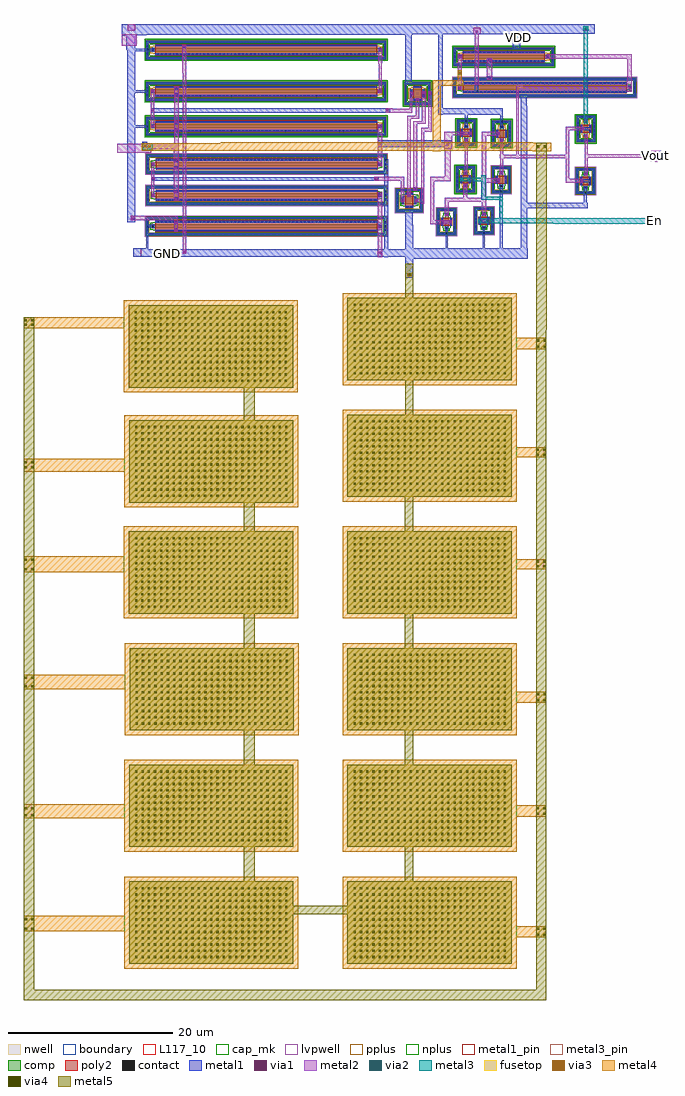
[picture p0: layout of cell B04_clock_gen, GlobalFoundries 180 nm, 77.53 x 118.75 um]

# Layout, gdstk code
from math import pi, radians
import gdstk
lib = gdstk.Library(unit=1e-6, precision=1e-09)
def R(c, l, rs):  # rectangles x0, y0, x1, y1
    for r in rs: c.add(gdstk.rectangle(r[:2], r[2:], *l))
def A(c, l, x, y, w, h, nx, ny, dx, dy):  # array of equal rectangles
    R(c, l, [(x+i*dx, y+j*dy, x+i*dx+w, y+j*dy+h) for i in range(nx) for j in range(ny)])
boundary = (0, 0)
nwell = (21, 0)
comp = (22, 0)
poly2 = (30, 0)
pplus = (31, 0)
nplus = (32, 0)
contact = (33, 0)
metal1 = (34, 0)
metal1_pin = (34, 10)
via1 = (35, 0)
metal2 = (36, 0)
via2 = (38, 0)
via3 = (40, 0)
via4 = (41, 0)
metal3 = (42, 0)
metal3_pin = (42, 10)
metal4 = (46, 0)
fusetop = (75, 0)
metal5 = (81, 0)
cap_mk = (117, 5)
L117_10 = (117, 10)
lvpwell = (204, 0)

cap_mim_8 = lib.new_cell('cap_mim$8')
A(cap_mim_8, via4, 0.69, 0.75, 0.26, 0.26, 12, 25, 0.76, 0.76)
R(cap_mim_8, metal4, [(-0.6,-0.6,10.6,20.6)])
R(cap_mim_8, fusetop, [(0,0,10,20)])
R(cap_mim_8, metal5, [(0,0,10,20)])
R(cap_mim_8, cap_mk, [(-0.6,-0.6,10.6,20.6)])
R(cap_mim_8, L117_10, [(0,0,10,0.1)])

via_dev_24 = lib.new_cell('via_dev$24')
R(via_dev_24, via4, [(0.07,0.07,0.33,0.33)])
R(via_dev_24, metal4, [(0,0,0.4,0.4)])
R(via_dev_24, metal5, [(0,0,0.4,0.4)])

nfet_03v3_rea3en = lib.new_cell('nfet_03v3_REA3EN')
R(nfet_03v3_rea3en, boundary, [(-1.45,-1,1.45,1)])
R(nfet_03v3_rea3en, comp, [(-1.63,-1.18,1.63,-0.82), (-1.63,-0.82,-1.27,0.82), (1.27,-0.82,1.63,0.82), (-0.94,-0.25,0.94,0.25), (-1.63,0.82,1.63,1.18)])
R(nfet_03v3_rea3en, poly2, [(-0.5,-0.71,0.5,0.71)])
R(nfet_03v3_rea3en, pplus, [(-0.915,-1.21,0.915,-1.2), (-1.65,-1.2,1.65,-0.79), (-1.65,-0.79,-1.24,-0.68), (1.24,-0.79,1.65,-0.68), (-1.66,-0.68,-1.24,0.68), (1.24,-0.68,1.66,0.68), (-1.65,0.68,-1.24,0.79), (1.24,0.68,1.65,0.79), (-1.65,0.79,1.65,1.2), (-0.915,1.2,0.915,1.21)])
R(nfet_03v3_rea3en, nplus, [(-0.73,-0.48,0.73,-0.41), (-1.1,-0.41,1.1,0.41), (-0.73,0.41,0.73,0.48)])
A(nfet_03v3_rea3en, contact, -0.815, -1.11, 0.22, 0.22, 4, 2, 0.47, 2)
A(nfet_03v3_rea3en, contact, -1.56, -0.58, 0.22, 0.22, 1, 3, 0, 0.47)
A(nfet_03v3_rea3en, contact, 1.34, -0.58, 0.22, 0.22, 1, 3, 0, 0.47)
R(nfet_03v3_rea3en, contact, [(-0.345,-0.64,-0.125,-0.42), (0.125,-0.64,0.345,-0.42), (-0.87,-0.11,-0.65,0.11), (0.65,-0.11,0.87,0.11), (-0.345,0.42,-0.125,0.64), (0.125,0.42,0.345,0.64)])
R(nfet_03v3_rea3en, metal1, [(-1.565,-1.115,1.565,-0.885), (-1.565,-0.885,-1.335,0.885), (1.335,-0.885,1.565,0.885), (-0.49,-0.645,0.49,-0.415), (-0.875,-0.24,-0.645,0.24), (0.645,-0.24,0.875,0.24), (-0.49,0.415,0.49,0.645), (-1.565,0.885,1.565,1.115)])
R(nfet_03v3_rea3en, lvpwell, [(-1.75,-1.3,1.75,1.3)])

pfet_03v3_54z2ee = lib.new_cell('pfet_03v3_54Z2EE')
R(pfet_03v3_54z2ee, boundary, [(-1.45,-1,1.45,1)])
R(pfet_03v3_54z2ee, nwell, [(-1.75,-1.3,1.75,1.3)])
R(pfet_03v3_54z2ee, comp, [(-1.63,-1.18,1.63,-0.82), (-1.63,-0.82,-1.27,0.82), (1.27,-0.82,1.63,0.82), (-0.94,-0.25,0.94,0.25), (-1.63,0.82,1.63,1.18)])
R(pfet_03v3_54z2ee, poly2, [(-0.5,-0.71,0.5,0.71)])
R(pfet_03v3_54z2ee, pplus, [(-0.73,-0.48,0.73,-0.41), (-1.1,-0.41,1.1,0.41), (-0.73,0.41,0.73,0.48)])
R(pfet_03v3_54z2ee, nplus, [(-1.79,-1.34,1.79,-0.71), (-1.79,-0.71,-1.16,0.71), (1.16,-0.71,1.79,0.71), (-1.79,0.71,1.79,1.34)])
A(pfet_03v3_54z2ee, contact, -0.815, -1.11, 0.22, 0.22, 4, 2, 0.47, 2)
A(pfet_03v3_54z2ee, contact, -1.56, -0.58, 0.22, 0.22, 1, 3, 0, 0.47)
A(pfet_03v3_54z2ee, contact, 1.34, -0.58, 0.22, 0.22, 1, 3, 0, 0.47)
R(pfet_03v3_54z2ee, contact, [(-0.345,-0.64,-0.125,-0.42), (0.125,-0.64,0.345,-0.42), (-0.87,-0.11,-0.65,0.11), (0.65,-0.11,0.87,0.11), (-0.345,0.42,-0.125,0.64), (0.125,0.42,0.345,0.64)])
R(pfet_03v3_54z2ee, metal1, [(-1.565,-1.115,1.565,-0.885), (-1.565,-0.885,-1.335,0.885), (1.335,-0.885,1.565,0.885), (-0.49,-0.645,0.49,-0.415), (-0.875,-0.24,-0.645,0.24), (0.645,-0.24,0.875,0.24), (-0.49,0.415,0.49,0.645), (-1.565,0.885,1.565,1.115)])

pfet_03v3_avnsd5 = lib.new_cell('pfet_03v3_AVNSD5')
R(pfet_03v3_avnsd5, boundary, [(-1.45,-1,1.45,1)])
R(pfet_03v3_avnsd5, nwell, [(-1.75,-1.3,1.75,1.3)])
R(pfet_03v3_avnsd5, comp, [(-1.63,-1.18,1.63,-0.82), (-1.63,-0.82,-1.27,0.82), (1.27,-0.82,1.63,0.82), (-0.94,-0.25,0.94,0.25), (-1.63,0.82,1.63,1.18)])
R(pfet_03v3_avnsd5, poly2, [(-0.5,-0.71,0.5,0.71)])
R(pfet_03v3_avnsd5, pplus, [(-0.73,-0.48,0.73,-0.41), (-1.1,-0.41,1.1,0.41), (-0.73,0.41,0.73,0.48)])
R(pfet_03v3_avnsd5, nplus, [(-1.79,-1.34,1.79,-0.71), (-1.79,-0.71,-1.16,0.71), (1.16,-0.71,1.79,0.71), (-1.79,0.71,1.79,1.34)])
A(pfet_03v3_avnsd5, contact, -1.56, -0.58, 0.22, 0.22, 1, 3, 0, 0.47)
R(pfet_03v3_avnsd5, contact, [(-0.345,-0.64,-0.125,-0.42), (0.125,-0.64,0.345,-0.42), (-0.87,-0.11,-0.65,0.11), (0.65,-0.11,0.87,0.11), (-0.345,0.42,-0.125,0.64), (0.125,0.42,0.345,0.64)])
R(pfet_03v3_avnsd5, metal1, [(-1.565,-1.115,1.565,-0.885), (-1.565,-0.885,-1.335,0.885), (1.335,-0.885,1.565,0.885), (-0.49,-0.645,0.49,-0.415), (-0.875,-0.24,-0.645,0.24), (0.645,-0.24,0.875,0.24), (-0.49,0.415,0.49,0.645), (-1.565,0.885,1.565,1.115)])

pfet_03v3_gpex9r = lib.new_cell('pfet_03v3_GPEX9R')
R(pfet_03v3_gpex9r, boundary, [(-5.95,-1,5.95,1)])
R(pfet_03v3_gpex9r, nwell, [(-6.25,-1.3,6.25,1.3)])
R(pfet_03v3_gpex9r, comp, [(-6.13,-1.18,6.13,-0.82), (-6.13,-0.82,-5.77,0.82), (5.77,-0.82,6.13,0.82), (-5.44,-0.25,5.44,0.25), (-6.13,0.82,6.13,1.18)])
R(pfet_03v3_gpex9r, poly2, [(-5,-0.71,5,0.71)])
R(pfet_03v3_gpex9r, pplus, [(-5.23,-0.48,5.23,-0.41), (-5.6,-0.41,5.6,0.41), (-5.23,0.41,5.23,0.48)])
R(pfet_03v3_gpex9r, nplus, [(-6.29,-1.34,6.29,-0.71), (-6.29,-0.71,-5.66,0.71), (5.66,-0.71,6.29,0.71), (-6.29,0.71,6.29,1.34)])
A(pfet_03v3_gpex9r, contact, -4.81, -0.64, 0.22, 0.22, 21, 2, 0.47, 1.06)
A(pfet_03v3_gpex9r, contact, -6.06, -0.58, 0.22, 0.22, 1, 3, 0, 0.47)
A(pfet_03v3_gpex9r, contact, 5.84, -0.58, 0.22, 0.22, 1, 3, 0, 0.47)
R(pfet_03v3_gpex9r, contact, [(-5.37,-0.11,-5.15,0.11), (5.15,-0.11,5.37,0.11)])
R(pfet_03v3_gpex9r, metal1, [(-6.065,-1.115,6.065,-0.885), (-6.065,-0.885,-5.835,0.885), (5.835,-0.885,6.065,0.885), (-4.99,-0.645,4.99,-0.415), (-5.375,-0.24,-5.145,0.24), (5.145,-0.24,5.375,0.24), (-4.99,0.415,4.99,0.645), (-6.065,0.885,6.065,1.115)])

nfet_03v3_5p2fd6 = lib.new_cell('nfet_03v3_5P2FD6')
R(nfet_03v3_5p2fd6, boundary, [(-10.95,-1,10.95,1)])
R(nfet_03v3_5p2fd6, comp, [(-11.13,-1.18,11.13,-0.82), (-11.13,-0.82,-10.77,0.82), (10.77,-0.82,11.13,0.82), (-10.44,-0.25,10.44,0.25), (-11.13,0.82,11.13,1.18)])
R(nfet_03v3_5p2fd6, poly2, [(-10,-0.71,10,0.71)])
R(nfet_03v3_5p2fd6, pplus, [(-11.15,-1.2,11.15,-0.8), (-11.15,-0.8,-10.74,-0.68), (10.74,-0.8,11.15,-0.68), (-11.16,-0.68,-10.74,0.68), (10.74,-0.68,11.16,0.68), (-11.15,0.68,-10.74,0.8), (10.74,0.68,11.15,0.8), (-11.15,0.8,11.15,1.2)])
R(nfet_03v3_5p2fd6, nplus, [(-10.23,-0.48,10.23,-0.41), (-10.6,-0.41,10.6,0.41), (-10.23,0.41,10.23,0.48)])
A(nfet_03v3_5p2fd6, contact, -9.745, -0.64, 0.22, 0.22, 42, 2, 0.47, 1.06)
A(nfet_03v3_5p2fd6, contact, -11.06, -0.58, 0.22, 0.22, 1, 3, 0, 0.47)
A(nfet_03v3_5p2fd6, contact, 10.84, -0.58, 0.22, 0.22, 1, 3, 0, 0.47)
R(nfet_03v3_5p2fd6, contact, [(-10.37,-0.11,-10.15,0.11), (10.15,-0.11,10.37,0.11)])
R(nfet_03v3_5p2fd6, metal1, [(-11.065,-1.115,11.065,-0.885), (-11.065,-0.885,-10.835,0.885), (10.835,-0.885,11.065,0.885), (-9.99,-0.645,9.99,-0.415), (-10.375,-0.24,-10.145,0.24), (10.145,-0.24,10.375,0.24), (-9.99,0.415,9.99,0.645), (-11.065,0.885,11.065,1.115)])
R(nfet_03v3_5p2fd6, lvpwell, [(-11.25,-1.3,11.25,1.3)])

pfet_03v3_c5nple = lib.new_cell('pfet_03v3_C5NPLE')
R(pfet_03v3_c5nple, boundary, [(-14.45,-1,14.45,1)])
R(pfet_03v3_c5nple, nwell, [(-14.75,-1.3,14.75,1.3)])
R(pfet_03v3_c5nple, comp, [(-14.63,-1.18,14.63,-0.82), (-14.63,-0.82,-14.27,0.82), (14.27,-0.82,14.63,0.82), (-13.94,-0.25,13.94,0.25), (-14.63,0.82,14.63,1.18)])
R(pfet_03v3_c5nple, poly2, [(-13.5,-0.71,13.5,0.71)])
R(pfet_03v3_c5nple, pplus, [(-13.73,-0.48,13.73,-0.41), (-14.1,-0.41,14.1,0.41), (-13.73,0.41,13.73,0.48)])
R(pfet_03v3_c5nple, nplus, [(-14.79,-1.34,14.79,-0.71), (-14.79,-0.71,-14.16,0.71), (14.16,-0.71,14.79,0.71), (-14.79,0.71,14.79,1.34)])
A(pfet_03v3_c5nple, contact, -13.27, -0.64, 0.22, 0.22, 57, 2, 0.47, 1.06)
A(pfet_03v3_c5nple, contact, -14.56, -0.58, 0.22, 0.22, 1, 3, 0, 0.47)
A(pfet_03v3_c5nple, contact, 14.34, -0.58, 0.22, 0.22, 1, 3, 0, 0.47)
R(pfet_03v3_c5nple, contact, [(-13.87,-0.11,-13.65,0.11), (13.65,-0.11,13.87,0.11)])
R(pfet_03v3_c5nple, metal1, [(-14.565,-1.115,14.565,-0.885), (-14.565,-0.885,-14.335,0.885), (14.335,-0.885,14.565,0.885), (-13.49,-0.645,13.49,-0.415), (-13.875,-0.24,-13.645,0.24), (13.645,-0.24,13.875,0.24), (-13.49,0.415,13.49,0.645), (-14.565,0.885,14.565,1.115)])

pfet_03v3_9trv9f = lib.new_cell('pfet_03v3_9TRV9F')
R(pfet_03v3_9trv9f, boundary, [(-1.45,-1.25,1.45,1.25)])
R(pfet_03v3_9trv9f, nwell, [(-1.75,-1.55,1.75,1.55)])
R(pfet_03v3_9trv9f, comp, [(-1.63,-1.43,1.63,-1.07), (-1.63,-1.07,-1.27,1.07), (1.27,-1.07,1.63,1.07), (-0.94,-0.5,0.94,0.5), (-1.63,1.07,1.63,1.43)])
R(pfet_03v3_9trv9f, poly2, [(-0.5,-0.96,0.5,0.96)])
R(pfet_03v3_9trv9f, pplus, [(-0.73,-0.73,0.73,-0.66), (-1.1,-0.66,1.1,0.66), (-0.73,0.66,0.73,0.73)])
R(pfet_03v3_9trv9f, nplus, [(-1.79,-1.59,1.79,-0.96), (-1.79,-0.96,-1.16,0.96), (1.16,-0.96,1.79,0.96), (-1.79,0.96,1.79,1.59)])
A(pfet_03v3_9trv9f, contact, -1.56, -0.815, 0.22, 0.22, 1, 4, 0, 0.47)
A(pfet_03v3_9trv9f, contact, 1.34, -0.815, 0.22, 0.22, 1, 4, 0, 0.47)
R(pfet_03v3_9trv9f, contact, [(-0.345,-0.89,-0.125,-0.67), (0.125,-0.89,0.345,-0.67), (-0.87,-0.345,-0.65,-0.125), (0.65,-0.345,0.87,-0.125), (-0.87,0.125,-0.65,0.345), (0.65,0.125,0.87,0.345), (-0.345,0.67,-0.125,0.89), (0.125,0.67,0.345,0.89)])
R(pfet_03v3_9trv9f, metal1, [(-1.565,-1.365,1.565,-1.135), (-1.565,-1.135,-1.335,1.135), (1.335,-1.135,1.565,1.135), (-0.49,-0.895,0.49,-0.665), (-0.875,-0.49,-0.645,0.49), (0.645,-0.49,0.875,0.49), (-0.49,0.665,0.49,0.895), (-1.565,1.135,1.565,1.365)])

nfet_03v3_y6nwy5 = lib.new_cell('nfet_03v3_Y6NWY5')
R(nfet_03v3_y6nwy5, boundary, [(-14.45,-1,14.45,1)])
R(nfet_03v3_y6nwy5, comp, [(-14.63,-1.18,14.63,-0.82), (-14.63,-0.82,-14.27,0.82), (14.27,-0.82,14.63,0.82), (-13.94,-0.25,13.94,0.25), (-14.63,0.82,14.63,1.18)])
R(nfet_03v3_y6nwy5, poly2, [(-13.5,-0.71,13.5,0.71)])
R(nfet_03v3_y6nwy5, pplus, [(-14.65,-1.2,14.65,-0.8), (-14.65,-0.8,-14.24,-0.68), (14.24,-0.8,14.65,-0.68), (-14.66,-0.68,-14.24,0.68), (14.24,-0.68,14.66,0.68), (-14.65,0.68,-14.24,0.8), (14.24,0.68,14.65,0.8), (-14.65,0.8,14.65,1.2)])
R(nfet_03v3_y6nwy5, nplus, [(-13.73,-0.48,13.73,-0.41), (-14.1,-0.41,14.1,0.41), (-13.73,0.41,13.73,0.48)])
A(nfet_03v3_y6nwy5, contact, -13.27, -0.64, 0.22, 0.22, 57, 2, 0.47, 1.06)
A(nfet_03v3_y6nwy5, contact, -14.56, -0.58, 0.22, 0.22, 1, 3, 0, 0.47)
A(nfet_03v3_y6nwy5, contact, 14.34, -0.58, 0.22, 0.22, 1, 3, 0, 0.47)
R(nfet_03v3_y6nwy5, contact, [(-13.87,-0.11,-13.65,0.11), (13.65,-0.11,13.87,0.11)])
R(nfet_03v3_y6nwy5, metal1, [(-14.565,-1.115,14.565,-0.885), (-14.565,-0.885,-14.335,0.885), (14.335,-0.885,14.565,0.885), (-13.49,-0.645,13.49,-0.415), (-13.875,-0.24,-13.645,0.24), (13.645,-0.24,13.875,0.24), (-13.49,0.415,13.49,0.645), (-14.565,0.885,14.565,1.115)])
R(nfet_03v3_y6nwy5, lvpwell, [(-14.75,-1.3,14.75,1.3)])

nfet_03v3_gnryrw = lib.new_cell('nfet_03v3_GNRYRW')
R(nfet_03v3_gnryrw, boundary, [(-1.45,-1.25,1.45,1.25)])
R(nfet_03v3_gnryrw, comp, [(-1.63,-1.43,1.63,-1.07), (-1.63,-1.07,-1.27,1.07), (1.27,-1.07,1.63,1.07), (-0.94,-0.5,0.94,0.5), (-1.63,1.07,1.63,1.43)])
R(nfet_03v3_gnryrw, poly2, [(-0.5,-0.96,0.5,0.96)])
R(nfet_03v3_gnryrw, pplus, [(-1.65,-1.45,1.65,-1.05), (-1.65,-1.05,-1.24,-0.915), (1.25,-1.05,1.65,1.05), (-1.66,-0.915,-1.24,0.915), (-1.65,0.915,-1.24,1.05), (-1.65,1.05,1.65,1.45)])
R(nfet_03v3_gnryrw, nplus, [(-0.73,-0.73,0.73,-0.66), (-1.1,-0.66,1.1,0.66), (-0.73,0.66,0.73,0.73)])
A(nfet_03v3_gnryrw, contact, -1.56, -0.815, 0.22, 0.22, 1, 4, 0, 0.47)
R(nfet_03v3_gnryrw, contact, [(-0.345,-0.89,-0.125,-0.67), (0.125,-0.89,0.345,-0.67), (-0.87,-0.345,-0.65,-0.125), (0.65,-0.345,0.87,-0.125), (-0.87,0.125,-0.65,0.345), (0.65,0.125,0.87,0.345), (-0.345,0.67,-0.125,0.89), (0.125,0.67,0.345,0.89)])
R(nfet_03v3_gnryrw, metal1, [(-1.565,-1.365,1.565,-1.135), (-1.565,-1.135,-1.335,1.135), (1.335,-1.135,1.565,1.135), (-0.49,-0.895,0.49,-0.665), (-0.875,-0.49,-0.645,0.49), (0.645,-0.49,0.875,0.49), (-0.49,0.665,0.49,0.895), (-1.565,1.135,1.565,1.365)])
R(nfet_03v3_gnryrw, lvpwell, [(-1.75,-1.55,1.75,1.55)])

b04_schmitt_trigger_back = lib.new_cell('B04_schmitt_trigger_backup')
R(b04_schmitt_trigger_back, metal1, [(43.1,-34.55,43.6,-34.5), (12.55,-34.5,46.6,-33.6), (12.55,-33.6,14.4,-33.5), (43.1,-33.6,43.6,-22.65), (45.7,-33.6,46.6,-28.8), (14.15,-33.5,14.4,-31.7), (17.6,-31.4,17.95,-31.35), (17.55,-31.35,18,-31.05), (42.4,-31,42.8,-30.6), (14.35,-30.95,15,-30.65), (17.55,-30.55,18,-30.2), (11.85,-30.35,12.8,-18.8), (46.85,-27.9,47.25,-27.45), (45.1,-27.85,45.3,-27.8), (45.1,-27.8,45.5,-27.5), (17.65,-27.65,18,-27.5), (17.6,-27.5,18.05,-27.3), (45.1,-27.5,45.3,-27.4), (14.75,-27.25,15.15,-26.85), (42.65,-27.25,42.85,-27.2), (45.9,-27.25,46.35,-26.9), (42.45,-27.2,42.85,-26.9), (42.65,-26.9,42.85,-26.85), (45.95,-26.9,46.3,-26.85), (17.6,-26.8,18.05,-26.6), (17.65,-26.6,18,-26.45), (46.65,-26.45,47.1,-26.05), (14.75,-25.25,42.45,-24.85), (17.65,-23.85,18,-23.7), (17.6,-23.7,18.05,-23.5), (14.75,-23.45,15.15,-23.05), (42.4,-23.45,42.8,-23.4), (42.4,-23.4,42.85,-23.1), (42.4,-23.1,42.8,-23.05), (17.6,-23,18.05,-22.8), (17.65,-22.8,18,-22.65), (13.7,-21.5,14.3,-21.4), (13.65,-21.4,14.95,-20.75), (50.4,-21.4,51.4,-21.2), (42.35,-21.2,51.4,-20.6), (13.7,-20.75,14.3,-20.5), (42.35,-20.6,43.7,-20.55), (50.4,-20.6,51.4,-20.4), (17.6,-19.25,18.05,-18.9), (14.7,-18.85,14.9,-18.8), (42.45,-18.85,42.8,-18.8), (11.85,-18.8,14.35,-18.5), (14.7,-18.8,15.1,-18.5), (42.4,-18.8,42.8,-18.5), (11.85,-18.5,12.8,-15.25), (14.7,-18.5,14.9,-18.45), (42.45,-18.5,42.8,-18.45), (17.6,-18.4,18.05,-18.05), (14.7,-17,43.85,-16.45), (46.95,-15.55,47.4,-15.15), (11.85,-15.25,12.75,-14.6), (17.65,-15,18,-14.95), (17.6,-14.95,18.05,-14.55), (46.2,-14.85,46.65,-14.45), (47.7,-14.8,48.15,-14.4), (48.45,-14.8,48.9,-14.4), (11.85,-14.6,12.8,-14.55), (14.7,-14.6,15,-14.55), (42.4,-14.6,42.8,-14.2), (11.85,-14.55,14.4,-14.25), (14.7,-14.55,15.1,-14.25), (11.85,-14.25,12.8,-9.5), (14.7,-14.25,15,-14.2), (17.6,-14.2,18.05,-13.85), (17.65,-13.85,18,-13.8), (45.7,-13.55,46.45,-7.5), (42.4,-9.55,42.85,-9.15), (11.85,-9.5,14.185,-9.35), (14.415,-9.5,14.875,-9.2), (11.75,-9.35,14.185,-9.2), (11.75,-9.2,12.8,-7.6), (18.55,-9.15,19,-8.8), (18.6,-8.8,18.95,-8.785), (11.2,-7.6,13,-7.55), (11.2,-7.55,14.15,-7.5), (11.2,-7.5,46.5,-6.25), (11.2,-6.25,14.15,-6.2)])
R(b04_schmitt_trigger_back, metal1_pin, [(12.55,-34.5,13.55,-33.5), (13.8,-21.5,14.3,-20.5), (50.4,-21.4,51.4,-20.4), (12.65,-7.05,12.7,-6.9)])
R(b04_schmitt_trigger_back, via1, [(42.495,-34.18,42.755,-33.92), (18.695,-34.08,18.955,-33.82), (17.645,-31.38,17.905,-31.12), (42.445,-30.93,42.705,-30.67), (17.645,-30.48,17.905,-30.22), (12.42,-29.98,12.68,-29.72), (46.895,-27.805,47.155,-27.545), (45.195,-27.78,45.455,-27.52), (17.695,-27.63,17.955,-27.37), (14.845,-27.18,15.105,-26.92), (42.495,-27.18,42.755,-26.92), (45.995,-27.155,46.255,-26.895), (17.695,-26.73,17.955,-26.47), (46.745,-26.405,47.005,-26.145), (14.845,-25.18,15.105,-24.92), (42.045,-25.18,42.305,-24.92), (17.695,-23.83,17.955,-23.57), (14.845,-23.38,15.105,-23.12), (42.495,-23.38,42.755,-23.12), (17.695,-22.93,17.955,-22.67), (13.91,-21.205,14.17,-20.945), (14.43,-21.205,14.69,-20.945), (45.995,-21.03,46.255,-20.77), (42.445,-20.98,42.705,-20.72), (50.695,-20.98,50.955,-20.72), (17.695,-19.23,17.955,-18.97), (14.795,-18.78,15.055,-18.52), (42.445,-18.78,42.705,-18.52), (17.695,-18.33,17.955,-18.07), (14.795,-16.83,15.055,-16.57), (43.395,-16.83,43.655,-16.57), (47.045,-15.48,47.305,-15.22), (17.695,-14.93,17.955,-14.67), (46.295,-14.78,46.555,-14.52), (47.795,-14.73,48.055,-14.47), (48.545,-14.73,48.805,-14.47), (14.795,-14.53,15.055,-14.27), (42.445,-14.53,42.705,-14.27), (17.695,-14.105,17.955,-13.845), (42.495,-9.48,42.755,-9.22), (18.645,-9.075,18.905,-8.815)])
R(b04_schmitt_trigger_back, metal2, [(42.3,-34.55,42.85,-26.7), (18.6,-34.15,19.05,-12.15), (17.55,-31.45,18,-30.1), (12.3,-30.1,18,-29.55), (47.6,-28.05,48,-27.9), (45.1,-27.9,45.55,-25.25), (46.8,-27.9,48,-27.45), (17.5,-27.7,18.1,-21.45), (47.6,-27.45,48,-19.3), (14.75,-27.3,15.2,-26.85), (45.9,-27.25,46.35,-17.75), (14.75,-26.85,15.15,-25.25), (46.65,-26.5,47.1,-18.35), (14.75,-25.25,15.2,-24.85), (41.9,-25.25,45.55,-24.8), (14.75,-24.85,15.15,-23.45), (42.35,-23.5,42.85,-18.4), (14.75,-23.45,15.2,-23.05), (13.65,-21.45,18.1,-20.7), (50.5,-21.25,51.15,-20.6), (17.55,-20.7,18.1,-13.75), (47.6,-19.3,48.9,-18.8), (14.7,-18.85,15.15,-14.15), (48.45,-18.8,48.9,-14.4), (46.65,-18.35,48.15,-18.05), (47.7,-18.05,48.15,-14.4), (45.9,-17.75,47.4,-17.35), (46.95,-17.35,47.4,-15.15), (43.3,-17,46.5,-16.5), (43.3,-16.5,44.1,-16.45), (46.2,-16.5,46.5,-14.9), (46.2,-14.9,46.55,-14.85), (46.2,-14.85,46.65,-14.45), (42.35,-14.65,42.8,-14.15), (42.45,-14.15,42.8,-10.95), (18.55,-12.15,19.05,-9.75), (42.4,-10.95,42.85,-9.15), (18.55,-9.75,19,-8.7), (11.9,-7.05,12.8,-6.2)])
b04_schmitt_trigger_back.add(gdstk.Reference(pfet_03v3_c5nple, (28.75,-14.4)))
b04_schmitt_trigger_back.add(gdstk.Reference(pfet_03v3_c5nple, (28.75,-18.65)))
b04_schmitt_trigger_back.add(gdstk.Reference(pfet_03v3_9trv9f, (47.15,-14.65)))
b04_schmitt_trigger_back.add(gdstk.Reference(nfet_03v3_y6nwy5, (28.8,-23.25)))
b04_schmitt_trigger_back.add(gdstk.Reference(nfet_03v3_y6nwy5, (28.8,-27.05)))
b04_schmitt_trigger_back.add(gdstk.Reference(nfet_03v3_gnryrw, (46.15,-27.65)))
b04_schmitt_trigger_back.add(gdstk.Reference(pfet_03v3_c5nple, (28.75,-9.35)))
b04_schmitt_trigger_back.add(gdstk.Reference(nfet_03v3_y6nwy5, (28.75,-30.8)))
b04_schmitt_trigger_back.add(gdstk.Label('VDD', (12.675,-6.975), layer=34, texttype=10))
b04_schmitt_trigger_back.add(gdstk.Label('Vin', (14.05,-21), layer=34, texttype=10))
b04_schmitt_trigger_back.add(gdstk.Label('Vout', (50.9,-20.9), layer=34, texttype=10))
b04_schmitt_trigger_back.add(gdstk.Label('GND', (13.05,-34), layer=34, texttype=10))

b04_clock_gen = lib.new_cell('B04_clock_gen')
R(b04_clock_gen, metal1, [(34.4,-2.46,35.35,-0.14), (44.05,-0.15,49.25,-0.14), (34.4,-0.14,49.25,1.1), (4.95,-0.05,6.8,0.95), (34.4,1.1,35.35,3.9), (39.3,1.1,39.55,3.55), (43.8,1.1,44.05,3.8), (45.85,1.1,46.25,8.69), (48.45,1.1,49.2,6), (38.755,4.05,40.05,4.1), (38.75,4.1,40.05,4.5), (43.3,4.25,43.65,4.6), (44.2,4.25,44.6,4.65), (38.755,4.5,40.05,4.55), (39.2,5.05,39.6,5.35), (43.75,5.1,44.1,5.325), (43.73,5.325,44.13,5.45), (48.45,6,56.6,6.65), (48.45,6.65,49.2,18.45), (56.1,6.65,56.45,8.45), (56.15,8.45,56.41,8.61), (41.5,8.55,41.85,8.9), (41.05,9.06,41.15,9.26), (55.7,9.15,56.85,9.5), (45.45,9.21,45.8,9.61), (41.05,9.26,41.45,9.66), (42,9.3,42.35,9.65), (41.05,9.66,41.15,9.81), (56.1,9.95,56.5,10), (56.15,10,56.5,10.3), (41.5,10.11,41.9,11), (45.85,10.16,46.25,10.51), (64.35,11.85,65.35,12.85), (39.25,13.41,40.1,13.61), (31,13.65,40.1,14), (31,14,39.1,14.2), (39.2,14,40.1,14.2), (45.9,14.01,46.3,14.36), (41.6,14.06,42,14.41), (31,14.2,40.1,14.25), (56.2,14.65,56.55,14.8), (56.25,14.8,56.51,14.96), (41.2,14.86,41.6,15.26), (45.45,14.86,45.85,15.31), (42,14.91,42.45,15.31), (55.75,15.5,56.8,15.85), (45.95,15.76,46.25,17.37), (41.6,15.81,42,17.37), (56.15,16.35,56.5,16.7), (56.2,16.7,56.5,17.1), (38.4,17.37,38.95,17.42), (41.6,17.37,46.25,17.42), (38.4,17.42,46.25,18.17), (38.4,18.17,38.95,27.15), (48.45,18.45,49.15,19.65), (42.8,20.22,43.25,21.12), (61.65,20.42,61.9,20.52), (40.75,20.47,41.15,20.87), (61.5,20.52,61.9,20.82), (61.65,20.82,61.9,20.87), (42.85,21.12,43.2,21.27), (44.35,21.57,44.9,22.02), (44.5,23.82,44.85,23.92), (44.45,23.92,44.9,24.17), (40.8,24.22,41.2,24.62), (51.5,24.22,51.9,24.62), (47.45,25.32,48.35,27.15), (35.2,27.15,48.45,27.2), (35.2,27.2,57.4,27.29), (35.15,27.29,57.4,27.54), (35.2,27.54,57.4,27.76), (35.15,27.76,57.4,28.35), (35.15,28.35,46.7,28.36)])
R(b04_clock_gen, metal1_pin, [(4.95,-0.05,5.95,0.95), (64.35,11.85,65.35,12.85), (48.15,26.65,48.2,26.8)])
R(b04_clock_gen, via1, [(34.77,-2.21,35.03,-1.95), (38.8,4.2,39.06,4.46), (39.75,4.2,40.01,4.46), (43.35,4.3,43.61,4.56), (44.27,4.32,44.53,4.58), (39.3,5.05,39.56,5.31), (43.8,5.1,44.06,5.36), (41.55,8.6,41.81,8.86), (55.7,9.2,55.96,9.46), (45.47,9.28,45.73,9.54), (41.095,9.33,41.355,9.59), (42.05,9.35,42.31,9.61), (56.2,10,56.46,10.26), (41.57,10.13,41.83,10.39), (45.92,10.18,46.18,10.44), (64.72,12.195,64.98,12.455), (45.97,14.08,46.23,14.34), (41.67,14.13,41.93,14.39), (56.25,14.7,56.51,14.96), (41.245,14.93,41.505,15.19), (42.095,14.98,42.355,15.24), (45.52,14.98,45.78,15.24), (55.75,15.55,56.01,15.81), (56.2,16.4,56.46,16.66), (40.845,20.54,41.105,20.8), (61.545,20.54,61.805,20.8), (42.895,20.99,43.155,21.25), (44.495,21.64,44.755,21.9), (44.545,23.84,44.805,24.1), (40.895,24.29,41.155,24.55), (51.545,24.29,51.805,24.55), (42.945,27.34,43.205,27.6), (56.195,27.695,56.455,27.955)])
R(b04_clock_gen, metal2, [(34.64,-2.3,35.17,-1.91), (37.4,4.05,40.05,4.55), (43.25,4.2,43.7,4.25), (43.25,4.25,44.6,4.65), (37.4,4.55,37.9,9.25), (39.15,5,39.65,6.75), (43.7,5.05,44.2,6.75), (39.15,6.75,44.2,7.25), (41.45,7.25,41.9,8.95), (43.7,7.25,44.2,9.11), (53.9,9.1,56.05,9.55), (43.7,9.11,45.85,9.61), (37.4,9.25,39.9,9.8), (41.95,9.25,42.4,9.7), (41,9.26,41.45,9.71), (53.9,9.55,54.35,12.05), (43.7,9.61,44.25,14.81), (45.4,9.61,45.85,9.66), (39.2,9.8,39.9,13.15), (56.15,9.95,56.55,10.3), (41.5,10.06,41.9,10.46), (45.85,10.06,46.3,11.01), (56.2,10.3,56.55,12.1), (41.6,10.46,41.9,10.86), (41.6,10.86,42,14.46), (45.9,11.01,46.3,12.06), (64.25,11.65,65.5,12.1), (47.85,12.01,48.15,12.05), (47.85,12.05,54.35,12.06), (45.85,12.06,54.35,12.5), (56.2,12.1,65.5,12.55), (45.85,12.5,48.15,12.51), (53.9,12.5,54.35,15.45), (45.9,12.51,46.3,14.41), (47.85,12.51,48.15,20.4), (56.2,12.55,56.55,15), (64.25,12.55,65.5,12.95), (-0.7,12.75,3.45,13.2), (39.1,13.15,40.1,14.86), (-0.7,13.2,3.55,13.8), (2.45,13.8,3.55,13.85), (43.7,14.81,45.55,14.86), (39.1,14.86,41.6,14.91), (43.7,14.86,45.85,15.31), (39.1,14.91,42.45,15.26), (41.55,15.26,42.45,15.31), (53.9,15.45,56.15,15.9), (56.1,16.3,56.6,16.75), (61.35,20.17,61.9,20.42), (47.85,20.4,49.3,20.42), (40.75,20.42,41.25,24.12), (47.85,20.42,61.95,20.82), (47.85,20.82,48.65,20.87), (61.35,20.82,61.95,21.62), (42.8,20.92,43.3,27.22), (44.35,21.57,44.9,21.62), (44.3,21.62,44.95,24.22), (61.4,21.62,61.95,24.15), (40.75,24.12,41.3,24.72), (61.05,24.15,61.95,24.17), (51.45,24.17,61.95,24.67), (51.5,24.67,61.95,24.7), (51.5,24.7,61.05,24.72), (-0.1,25.75,1.7,27.15), (42.65,27.22,43.55,27.92), (56,27.55,56.65,28.1)])
R(b04_clock_gen, via2, [(34.77,-2.21,35.03,-1.95), (43.37,4.32,43.63,4.58), (44.27,4.32,44.53,4.58), (41.095,9.345,41.355,9.605), (42.045,9.345,42.305,9.605), (2.61,13.395,2.87,13.655), (3.13,13.395,3.39,13.655), (56.22,16.395,56.48,16.655), (40.895,22.34,41.155,22.6), (56.195,27.695,56.455,27.955)])
R(b04_clock_gen, via3, [(34.77,-2.21,35.03,-1.95), (2.61,13.395,2.87,13.655), (3.13,13.395,3.39,13.655), (40.895,22.34,41.155,22.6)])
R(b04_clock_gen, via4, [(34.77,-2.21,35.03,-1.95)])
R(b04_clock_gen, metal3, [(34.64,-2.3,35.17,-1.91), (64.2,3.95,65.1,4.1), (45.8,4.1,46.25,4.15), (52.35,4.1,65.1,4.15), (43.3,4.15,65.1,4.2), (43.25,4.2,65.1,4.65), (43.3,4.65,65.1,4.75), (45.8,4.75,46.25,7), (64.2,4.75,65.1,4.95), (43.6,7,46.25,7.4), (43.6,7.4,44.15,9.25), (41,9.25,44.15,9.7), (43.6,9.7,44.15,10), (2.35,13.05,3.65,13.9), (56.1,16.3,56.6,27.55), (40.75,22.22,41.25,22.77), (56,27.55,56.65,28.1)])
R(b04_clock_gen, metal3_pin, [(64.2,3.95,65.1,4.95)])
R(b04_clock_gen, metal4, [(47.94,-82.72,51.55,-81.4), (-12.02,-82.01,0.17,-80.09), (-12.02,-68.21,0.17,-66.54), (47.94,-68.03,51.55,-66.66), (47.94,-54.16,51.55,-52.84), (-12.02,-52.53,0.22,-50.78), (-12.02,-38.33,0.15,-36.33), (47.94,-37.97,51.55,-36.7), (-12.02,-26.06,0.16,-24.47), (47.94,-24.3,51.53,-23.08), (47.94,-11.2,51.55,-9.78), (-12.02,-8.59,0.16,-7.27), (34.64,-2.3,35.17,-1.91), (37.7,12.9,38.7,13), (49.9,12.93,52.11,13), (2.35,13,52.11,13.05), (2.3,13.05,52.11,13.9), (11.95,13.9,52.11,13.95), (11.95,13.95,49.9,14), (37.7,14,38.7,20.9), (37.7,20.9,41.45,21.45), (37.75,21.45,41.45,21.55), (40.75,21.55,41.25,22.75)])
R(b04_clock_gen, metal5, [(-12.03,-90.35,50.29,-89.09), (50.29,-90.35,51.55,-8.78), (50.29,-89.77,51.55,-8.2), (-12.02,-89.09,-10.76,-7.27), (14.69,-79.92,35.35,-78.9), (34.3,-79.92,35.35,-52.91), (14.69,-78.9,16.04,-9.69), (34.3,-52.91,35.35,-29.12), (34.4,-29.12,35.35,-0.745), (50.29,-8.78,51.58,13.95)])
b04_clock_gen.add(gdstk.Reference(cap_mim_8, (47.34,-14.93), rotation=pi/2))
b04_clock_gen.add(gdstk.Reference(cap_mim_8, (0.72,-5.83), rotation=3*pi/2))
b04_clock_gen.add(gdstk.Reference(cap_mim_8, (47.34,-29.13), rotation=pi/2))
b04_clock_gen.add(gdstk.Reference(cap_mim_8, (47.34,-43.33), rotation=pi/2))
b04_clock_gen.add(gdstk.Reference(cap_mim_8, (47.34,-57.53), rotation=pi/2))
b04_clock_gen.add(gdstk.Reference(cap_mim_8, (0.82,-57.53), rotation=pi/2, x_reflection=True))
b04_clock_gen.add(gdstk.Reference(cap_mim_8, (47.34,-71.73), rotation=pi/2))
b04_clock_gen.add(gdstk.Reference(cap_mim_8, (0.77,-71.73), rotation=pi/2, x_reflection=True))
b04_clock_gen.add(gdstk.Reference(cap_mim_8, (47.34,-85.93), rotation=pi/2))
b04_clock_gen.add(gdstk.Reference(cap_mim_8, (0.76,-29.82), rotation=pi/2, x_reflection=True))
b04_clock_gen.add(gdstk.Reference(cap_mim_8, (0.75,-43.33), rotation=pi/2, x_reflection=True))
b04_clock_gen.add(gdstk.Reference(cap_mim_8, (0.77,-85.93), rotation=pi/2, x_reflection=True))
r = gdstk.Reference(via_dev_24, (51.53,-9.91), rotation=pi); r.repetition = gdstk.Repetition(2, 1, v1=(-0.8,0), v2=(0,0)); b04_clock_gen.add(r)
r = gdstk.Reference(via_dev_24, (51.51,-23.2), rotation=pi); r.repetition = gdstk.Repetition(2, 1, v1=(-0.8,0), v2=(0,0)); b04_clock_gen.add(r)
r = gdstk.Reference(via_dev_24, (51.51,-36.8), rotation=pi); r.repetition = gdstk.Repetition(2, 1, v1=(-0.8,0), v2=(0,0)); b04_clock_gen.add(r)
r = gdstk.Reference(via_dev_24, (51.51,-66.81), rotation=pi); r.repetition = gdstk.Repetition(2, 1, v1=(-0.8,0), v2=(0,0)); b04_clock_gen.add(r)
r = gdstk.Reference(via_dev_24, (51.52,-81.5), rotation=pi); r.repetition = gdstk.Repetition(2, 1, v1=(-0.8,0), v2=(0,0)); b04_clock_gen.add(r)
r = gdstk.Reference(via_dev_24, (-10.78,-80.31), rotation=pi); r.repetition = gdstk.Repetition(2, 1, v1=(-0.8,0), v2=(0,0)); b04_clock_gen.add(r)
r = gdstk.Reference(via_dev_24, (-10.78,-66.83), rotation=pi); r.repetition = gdstk.Repetition(2, 1, v1=(-0.8,0), v2=(0,0)); b04_clock_gen.add(r)
r = gdstk.Reference(via_dev_24, (-10.79,-50.96), rotation=pi); r.repetition = gdstk.Repetition(2, 1, v1=(-0.8,0), v2=(0,0)); b04_clock_gen.add(r)
r = gdstk.Reference(via_dev_24, (-10.79,-24.72), rotation=pi); r.repetition = gdstk.Repetition(2, 1, v1=(-0.8,0), v2=(0,0)); b04_clock_gen.add(r)
r = gdstk.Reference(via_dev_24, (-10.79,-7.43), rotation=pi); r.repetition = gdstk.Repetition(2, 1, v1=(-0.8,0), v2=(0,0)); b04_clock_gen.add(r)
r = gdstk.Reference(via_dev_24, (51.51,-67.48), rotation=pi); r.repetition = gdstk.Repetition(2, 1, v1=(-0.8,0), v2=(0,0)); b04_clock_gen.add(r)
r = gdstk.Reference(via_dev_24, (51.53,-52.96), rotation=pi); r.repetition = gdstk.Repetition(2, 1, v1=(-0.8,0), v2=(0,0)); b04_clock_gen.add(r)
r = gdstk.Reference(via_dev_24, (51.52,-82.2), rotation=pi); r.repetition = gdstk.Repetition(2, 1, v1=(-0.8,0), v2=(0,0)); b04_clock_gen.add(r)
r = gdstk.Reference(via_dev_24, (51.52,-53.68), rotation=pi); r.repetition = gdstk.Repetition(2, 1, v1=(-0.8,0), v2=(0,0)); b04_clock_gen.add(r)
r = gdstk.Reference(via_dev_24, (51.51,-37.39), rotation=pi); r.repetition = gdstk.Repetition(2, 1, v1=(-0.8,0), v2=(0,0)); b04_clock_gen.add(r)
r = gdstk.Reference(via_dev_24, (51.51,-23.83), rotation=pi); r.repetition = gdstk.Repetition(2, 1, v1=(-0.8,0), v2=(0,0)); b04_clock_gen.add(r)
r = gdstk.Reference(via_dev_24, (51.53,-10.67), rotation=pi); r.repetition = gdstk.Repetition(2, 1, v1=(-0.8,0), v2=(0,0)); b04_clock_gen.add(r)
r = gdstk.Reference(via_dev_24, (51.53,13.7), rotation=pi); r.repetition = gdstk.Repetition(2, 1, v1=(-0.8,0), v2=(0,0)); b04_clock_gen.add(r)
r = gdstk.Reference(via_dev_24, (-10.79,-7.98), rotation=pi); r.repetition = gdstk.Repetition(2, 1, v1=(-0.8,0), v2=(0,0)); b04_clock_gen.add(r)
r = gdstk.Reference(via_dev_24, (-10.79,-25.35), rotation=pi); r.repetition = gdstk.Repetition(2, 1, v1=(-0.8,0), v2=(0,0)); b04_clock_gen.add(r)
r = gdstk.Reference(via_dev_24, (-10.79,-36.58), rotation=pi); r.repetition = gdstk.Repetition(2, 1, v1=(-0.8,0), v2=(0,0)); b04_clock_gen.add(r)
r = gdstk.Reference(via_dev_24, (-10.79,-37.76), rotation=pi); r.repetition = gdstk.Repetition(2, 1, v1=(-0.8,0), v2=(0,0)); b04_clock_gen.add(r)
r = gdstk.Reference(via_dev_24, (-10.79,-51.98), rotation=pi); r.repetition = gdstk.Repetition(2, 1, v1=(-0.8,0), v2=(0,0)); b04_clock_gen.add(r)
r = gdstk.Reference(via_dev_24, (-10.79,-67.67), rotation=pi); r.repetition = gdstk.Repetition(2, 1, v1=(-0.8,0), v2=(0,0)); b04_clock_gen.add(r)
r = gdstk.Reference(via_dev_24, (-10.78,-81.49), rotation=pi); r.repetition = gdstk.Repetition(2, 1, v1=(-0.8,0), v2=(0,0)); b04_clock_gen.add(r)
b04_clock_gen.add(gdstk.Reference(nfet_03v3_rea3en, (56.3,9.3), rotation=3*pi/2))
b04_clock_gen.add(gdstk.Reference(pfet_03v3_54z2ee, (41.7,9.5), rotation=3*pi/2))
b04_clock_gen.add(gdstk.Reference(nfet_03v3_rea3en, (39.4,4.35), rotation=3*pi/2))
b04_clock_gen.add(gdstk.Reference(nfet_03v3_rea3en, (43.95,4.45), rotation=3*pi/2))
b04_clock_gen.add(gdstk.Reference(pfet_03v3_54z2ee, (46.1,15.06), rotation=3*pi/2))
b04_clock_gen.add(gdstk.Reference(nfet_03v3_rea3en, (46.05,9.46), rotation=3*pi/2))
b04_clock_gen.add(gdstk.Reference(pfet_03v3_avnsd5, (41.8,15.16), rotation=3*pi/2))
b04_clock_gen.add(gdstk.Reference(pfet_03v3_gpex9r, (46.35,24.42)))
b04_clock_gen.add(gdstk.Reference(nfet_03v3_5p2fd6, (51.35,20.67)))
b04_clock_gen.add(gdstk.Reference(pfet_03v3_54z2ee, (56.35,15.65), rotation=3*pi/2))
b04_clock_gen.add(gdstk.Reference(b04_schmitt_trigger_back, (-11.3,34.6)))
b04_clock_gen.add(gdstk.Label('VDD', (48.175,26.725), layer=34, texttype=10))
b04_clock_gen.add(gdstk.Label('Vout', (64.85,12.35), layer=34, texttype=10))
b04_clock_gen.add(gdstk.Label('GND', (5.45,0.45), layer=34, texttype=10))
b04_clock_gen.add(gdstk.Label('En', (64.65,4.45), layer=42, texttype=10))

lib.write_gds('B04_clock_gen.gds')
